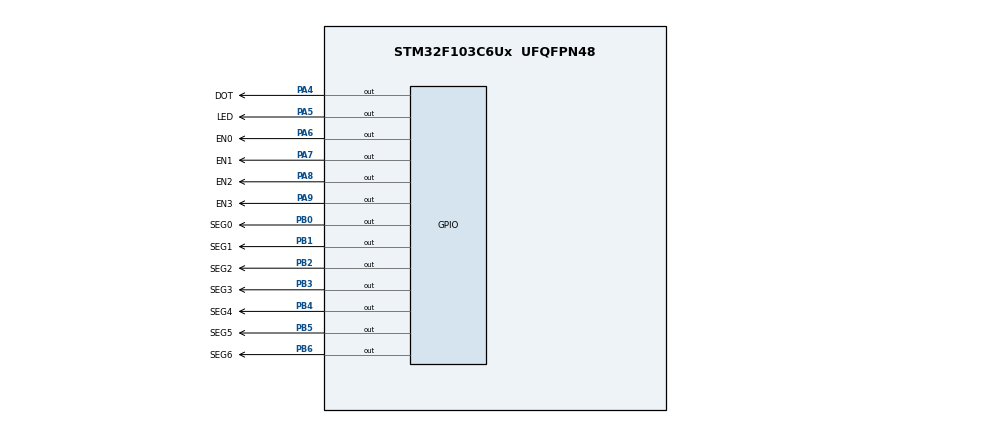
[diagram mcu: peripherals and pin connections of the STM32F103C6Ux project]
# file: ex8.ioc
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Mcu.Family=STM32F1
Mcu.Name=STM32F103C6Ux
Mcu.Package=UFQFPN48
NVIC.PriorityGroup=NVIC_PRIORITYGROUP_4
NVIC.TIM2_IRQn=true\:0\:0\:false\:false\:true\:true\:true
PA4.GPIO_Label=DOT
PA4.Signal=GPIO_Output
PA5.GPIO_Label=LED
PA5.Signal=GPIO_Output
PA6.GPIO_Label=EN0
PA6.Signal=GPIO_Output
PA7.GPIO_Label=EN1
PA7.Signal=GPIO_Output
PA8.GPIO_Label=EN2
PA8.Signal=GPIO_Output
PA9.GPIO_Label=EN3
PA9.Signal=GPIO_Output
PB0.GPIO_Label=SEG0
PB0.Signal=GPIO_Output
PB1.GPIO_Label=SEG1
PB1.Signal=GPIO_Output
PB2.GPIO_Label=SEG2
PB2.Signal=GPIO_Output
PB3.GPIO_Label=SEG3
PB3.Signal=GPIO_Output
PB4.GPIO_Label=SEG4
PB4.Signal=GPIO_Output
PB5.GPIO_Label=SEG5
PB5.Signal=GPIO_Output
PB6.GPIO_Label=SEG6
PB6.Signal=GPIO_Output
ProjectManager.HeapSize=0x200
ProjectManager.StackSize=0x400
ProjectManager.TargetToolchain=STM32CubeIDE
RCC.APB1Freq_Value=8000000
RCC.APB2Freq_Value=8000000
TIM2.Period=9
TIM2.Prescaler=7999
VP_SYS_VS_ND.Mode=No_Debug
VP_TIM2_VS_ClockSourceINT.Mode=Internal
board=custom

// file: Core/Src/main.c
/* USER CODE BEGIN Header */
/**
  ******************************************************************************
  * @file           : main.c
  * @brief          : Main program body
  ******************************************************************************
  * @attention
  *
  * Copyright (c) 2024 STMicroelectronics.
  * All rights reserved.
  *
  * This software is licensed under terms that can be found in the LICENSE file
  * in the root directory of this software component.
  * If no LICENSE file comes with this software, it is provided AS-IS.
  *
  ******************************************************************************
  */
/* USER CODE END Header */
#include "main.h"

TIM_HandleTypeDef htim2;

void SystemClock_Config(void);
static void MX_GPIO_Init(void);
static void MX_TIM2_Init(void);

/* USER CODE BEGIN 0 */
void display7SEG(int num) {
	switch (num) {
	case 0:
		HAL_GPIO_WritePin(GPIOB, SEG0_Pin|SEG1_Pin|SEG2_Pin|SEG3_Pin|SEG4_Pin|SEG5_Pin, RESET);
		HAL_GPIO_WritePin(GPIOB, SEG6_Pin, SET);
		break;
	case 1:
		HAL_GPIO_WritePin(GPIOB, SEG1_Pin|SEG2_Pin, RESET);
		HAL_GPIO_WritePin(GPIOB, SEG0_Pin|SEG3_Pin|SEG4_Pin|SEG5_Pin|SEG6_Pin, SET);
		break;
	case 2:
		HAL_GPIO_WritePin(GPIOB, SEG0_Pin|SEG1_Pin|SEG3_Pin|SEG4_Pin|SEG6_Pin, RESET);
		HAL_GPIO_WritePin(GPIOB, SEG2_Pin|SEG5_Pin, SET);
		break;
	case 3:
		HAL_GPIO_WritePin(GPIOB, SEG0_Pin|SEG1_Pin|SEG2_Pin|SEG3_Pin|SEG6_Pin, RESET);
		HAL_GPIO_WritePin(GPIOB, SEG4_Pin|SEG5_Pin, SET);
		break;
	case 4:
		HAL_GPIO_WritePin(GPIOB, SEG1_Pin|SEG2_Pin|SEG5_Pin|SEG6_Pin, RESET);
		HAL_GPIO_WritePin(GPIOB, SEG0_Pin|SEG3_Pin|SEG4_Pin, SET);
		break;
	case 5:
		HAL_GPIO_WritePin(GPIOB, SEG0_Pin|SEG2_Pin|SEG3_Pin|SEG5_Pin|SEG6_Pin, RESET);
		HAL_GPIO_WritePin(GPIOB, SEG1_Pin|SEG4_Pin, SET);
		break;
	case 6:
		HAL_GPIO_WritePin(GPIOB, SEG0_Pin|SEG2_Pin|SEG3_Pin|SEG4_Pin|SEG5_Pin|SEG6_Pin, RESET);
		HAL_GPIO_WritePin(GPIOB, SEG1_Pin, SET);
		break;
	case 7:
		HAL_GPIO_WritePin(GPIOB, SEG0_Pin|SEG1_Pin|SEG2_Pin, RESET);
		HAL_GPIO_WritePin(GPIOB, SEG3_Pin|SEG4_Pin|SEG5_Pin|SEG6_Pin, SET);
		break;
	case 8:
		HAL_GPIO_WritePin(GPIOB, SEG0_Pin|SEG1_Pin|SEG2_Pin|SEG3_Pin|SEG4_Pin|SEG5_Pin|SEG6_Pin, RESET);
		break;
	case 9:
		HAL_GPIO_WritePin(GPIOB, SEG0_Pin|SEG1_Pin|SEG2_Pin|SEG3_Pin|SEG5_Pin|SEG6_Pin, RESET);
		HAL_GPIO_WritePin(GPIOB, SEG4_Pin, SET);
		break;
	default:
		HAL_GPIO_WritePin(GPIOB, SEG0_Pin|SEG1_Pin|SEG2_Pin|SEG3_Pin|SEG4_Pin|SEG5_Pin|SEG6_Pin, SET);
		break;
	}
}

const int MAX_LED = 4;
int index_led = 0;
int led_buffer[4] = {1, 2, 3, 4};
int hour = 15, minute = 8, second = 50;
void updateClockBuffer () {
    if (minute <= 9) {
    	led_buffer[2] = 0;
    	led_buffer[3] = minute;
    }
    else {
    	led_buffer[2] = minute / 10;
    	led_buffer[3] = minute % 10;
    }

    if (hour <= 9) {
    	led_buffer[0] = 0;
    	led_buffer[1] = hour;
    }
    else {
    	led_buffer[0] = hour / 10;
    	led_buffer[1] = hour % 10;
    }
}
void update7SEG (int index) {
	switch (index) {
	case 0:
		HAL_GPIO_WritePin(GPIOA, EN0_Pin, 0);
		HAL_GPIO_WritePin(GPIOA, EN1_Pin|EN2_Pin|EN3_Pin, 1);
		display7SEG(led_buffer[index]);
		break;
	case 1:
		HAL_GPIO_WritePin(GPIOA, EN1_Pin, 0);
		HAL_GPIO_WritePin(GPIOA, EN0_Pin|EN2_Pin|EN3_Pin, 1);
		display7SEG(led_buffer[index]);
		break;
	case 2:
		HAL_GPIO_WritePin(GPIOA, EN2_Pin, 0);
		HAL_GPIO_WritePin(GPIOA, EN0_Pin|EN1_Pin|EN3_Pin, 1);
		display7SEG(led_buffer[index]);
		break;
	case 3:
		HAL_GPIO_WritePin(GPIOA, EN3_Pin, 0);
		HAL_GPIO_WritePin(GPIOA, EN0_Pin|EN1_Pin|EN2_Pin, 1);
		display7SEG(led_buffer[index]);
		break;
	default:
		break;
	}
}

int timer0_counter = 0;
int timer1_counter = 0;
int timer0_flag = 0;
int timer1_flag = 0;
int TIMER_CYCLE = 10;
void setTimer0 (int duration) {
	timer0_counter = duration / TIMER_CYCLE;
	timer0_flag = 0;
}
void setTimer1 (int duration) {
	timer1_counter = duration / TIMER_CYCLE;
	timer1_flag = 0;
}
void timer_run () {
	if (timer0_counter > 0) {
		timer0_counter--;
		if (timer0_counter == 0) timer0_flag = 1;
	}
	if (timer1_counter > 0) {
			timer1_counter--;
			if (timer1_counter == 0) timer1_flag = 1;
		}
}
/* USER CODE END 0 */

int main(void)
{

  /* MCU Configuration--------------------------------------------------------*/

  /* Reset of all peripherals, Initializes the Flash interface and the Systick. */
  HAL_Init();

  /* Configure the system clock */
  SystemClock_Config();

  /* Initialize all configured peripherals */
  MX_GPIO_Init();
  MX_TIM2_Init();
  /* USER CODE BEGIN 2 */
  HAL_TIM_Base_Start_IT(&htim2);
  /* USER CODE END 2 */

  /* Infinite loop */
  /* USER CODE BEGIN WHILE */
  // Idea: Use setTimer0(1000) and TIMER_CYCLE = 10, so timer0_counter = 1000 / 10 = 100 => The LED toggles every second
  setTimer0(10);
  setTimer1(10);
  while (1)
  {
    if (timer0_flag == 1) {
    	HAL_GPIO_TogglePin(LED_GPIO_Port, LED_Pin);
    	HAL_GPIO_TogglePin(DOT_GPIO_Port, DOT_Pin);
    	setTimer0(1000);
        second++;
        if (second >= 60) {
        	second = 0;
        	minute++;
        }
        if (minute >= 60) {
        	minute = 0;
        	hour++;
        }
        if (hour >= 24) {
        	hour = 0;
        }
        updateClockBuffer();
    }
  	  if (timer1_flag == 1) {
  		  setTimer1(250);
  		  if (index_led > 3) index_led = 0;
  		  update7SEG(index_led++);
  	  }
  }
  /* USER CODE END 3 */
}

void SystemClock_Config(void)
{
  RCC_OscInitTypeDef RCC_OscInitStruct = {0};
  RCC_ClkInitTypeDef RCC_ClkInitStruct = {0};

  /** Initializes the RCC Oscillators according to the specified parameters
  * in the RCC_OscInitTypeDef structure.
  */
  RCC_OscInitStruct.OscillatorType = RCC_OSCILLATORTYPE_HSI;
  RCC_OscInitStruct.HSIState = RCC_HSI_ON;
  RCC_OscInitStruct.HSICalibrationValue = RCC_HSICALIBRATION_DEFAULT;
  RCC_OscInitStruct.PLL.PLLState = RCC_PLL_NONE;
  if (HAL_RCC_OscConfig(&RCC_OscInitStruct) != HAL_OK)
  {
    Error_Handler();
  }
  /** Initializes the CPU, AHB and APB buses clocks
  */
  RCC_ClkInitStruct.ClockType = RCC_CLOCKTYPE_HCLK|RCC_CLOCKTYPE_SYSCLK
                              |RCC_CLOCKTYPE_PCLK1|RCC_CLOCKTYPE_PCLK2;
  RCC_ClkInitStruct.SYSCLKSource = RCC_SYSCLKSOURCE_HSI;
  RCC_ClkInitStruct.AHBCLKDivider = RCC_SYSCLK_DIV1;
  RCC_ClkInitStruct.APB1CLKDivider = RCC_HCLK_DIV1;
  RCC_ClkInitStruct.APB2CLKDivider = RCC_HCLK_DIV1;

  if (HAL_RCC_ClockConfig(&RCC_ClkInitStruct, FLASH_LATENCY_0) != HAL_OK)
  {
    Error_Handler();
  }
}

static void MX_TIM2_Init(void)
{

  TIM_ClockConfigTypeDef sClockSourceConfig = {0};
  TIM_MasterConfigTypeDef sMasterConfig = {0};

  htim2.Instance = TIM2;
  htim2.Init.Prescaler = 7999;
  htim2.Init.CounterMode = TIM_COUNTERMODE_UP;
  htim2.Init.Period = 9;
  htim2.Init.ClockDivision = TIM_CLOCKDIVISION_DIV1;
  htim2.Init.AutoReloadPreload = TIM_AUTORELOAD_PRELOAD_DISABLE;
  if (HAL_TIM_Base_Init(&htim2) != HAL_OK)
  {
    Error_Handler();
  }
  sClockSourceConfig.ClockSource = TIM_CLOCKSOURCE_INTERNAL;
  if (HAL_TIM_ConfigClockSource(&htim2, &sClockSourceConfig) != HAL_OK)
  {
    Error_Handler();
  }
  sMasterConfig.MasterOutputTrigger = TIM_TRGO_RESET;
  sMasterConfig.MasterSlaveMode = TIM_MASTERSLAVEMODE_DISABLE;
  if (HAL_TIMEx_MasterConfigSynchronization(&htim2, &sMasterConfig) != HAL_OK)
  {
    Error_Handler();
  }

}

static void MX_GPIO_Init(void)
{
  GPIO_InitTypeDef GPIO_InitStruct = {0};

  /* GPIO Ports Clock Enable */
  __HAL_RCC_GPIOA_CLK_ENABLE();
  __HAL_RCC_GPIOB_CLK_ENABLE();

  /*Configure GPIO pin Output Level */
  HAL_GPIO_WritePin(GPIOA, DOT_Pin|LED_Pin|EN0_Pin|EN1_Pin
                          |EN2_Pin|EN3_Pin, GPIO_PIN_RESET);

  /*Configure GPIO pin Output Level */
  HAL_GPIO_WritePin(GPIOB, SEG0_Pin|SEG1_Pin|SEG2_Pin|SEG3_Pin
                          |SEG4_Pin|SEG5_Pin|SEG6_Pin, GPIO_PIN_RESET);

  /*Configure GPIO pins : DOT_Pin LED_Pin EN0_Pin EN1_Pin
                           EN2_Pin EN3_Pin */
  GPIO_InitStruct.Pin = DOT_Pin|LED_Pin|EN0_Pin|EN1_Pin
                          |EN2_Pin|EN3_Pin;
  GPIO_InitStruct.Mode = GPIO_MODE_OUTPUT_PP;
  GPIO_InitStruct.Pull = GPIO_NOPULL;
  GPIO_InitStruct.Speed = GPIO_SPEED_FREQ_LOW;
  HAL_GPIO_Init(GPIOA, &GPIO_InitStruct);

  /*Configure GPIO pins : SEG0_Pin SEG1_Pin SEG2_Pin SEG3_Pin
                           SEG4_Pin SEG5_Pin SEG6_Pin */
  GPIO_InitStruct.Pin = SEG0_Pin|SEG1_Pin|SEG2_Pin|SEG3_Pin
                          |SEG4_Pin|SEG5_Pin|SEG6_Pin;
  GPIO_InitStruct.Mode = GPIO_MODE_OUTPUT_PP;
  GPIO_InitStruct.Pull = GPIO_NOPULL;
  GPIO_InitStruct.Speed = GPIO_SPEED_FREQ_LOW;
  HAL_GPIO_Init(GPIOB, &GPIO_InitStruct);

}

/* USER CODE BEGIN 4 */
void HAL_TIM_PeriodElapsedCallback(TIM_HandleTypeDef *htim)
{
	timer_run();
}
/* USER CODE END 4 */

void Error_Handler(void)
{
  __disable_irq();
  while (1)
  {
  }
}

/************************ (C) COPYRIGHT STMicroelectronics *****END OF FILE****/
